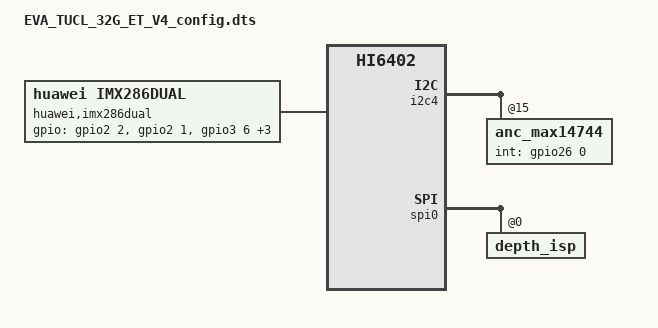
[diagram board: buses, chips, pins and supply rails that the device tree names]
/**
 * Huawei Ltd.
 * PhosphorV660
 */

/dts-v1/;

/include/ "fastboot.dtsi"
/include/ "EVA_TUCL_ET_V3_config.dtsi"
/include/ "EVA_TUCL_32G_ET_V4_pin.dtsi"
/include/ "EVA_TUCL_32G_ET_V4_modem_pin.dtsi"
/include/ "EVA_TUCL_32G_ET_V4_hi6402_pin.dtsi"

/{
	hisi,modem_id = <0x3C012800>;
	hisi,boardid = <3 5 5 7>;
	hisi,boardname = "EVA_TUCL_32G_ET_V4";

	amba{
		i2c4: i2c@FDF0D000{
			anc_max14744: anc_max14744@15{
				gpio_int = <&gpio26 0 0>;
				pinctrl-names = "default", "idle";
				pinctrl-0 = <&gpio010_hi6402_pinctrl_func>;
				pinctrl-1 = <&gpio010_hi6402_pinctrl_idle>;
				status = "ok";
			};
		};
		spi0: spi@ffd70000{
			depth_isp: depth_isp@0 {
				/*chip-type 1:dummy  2:Al6045  4:Al6610*/
				depth_isp,chip_type = <1>;
			};
		};
	};

	huawei,hisi_isp100{
		pinctrl-1 = <
			&gpio017_pmx_idle
			&gpio018_pmx_idle
			&gpio022_pmx_idle
			&gpio023_pmx_idle
			&gpio024_pmx_idle
			&gpio025_pmx_idle
			&gpio026_pmx_idle
			&gpio027_pmx_idle
			&gpio028_pmx_idle
			&gpio003_hi6402_pinctrl_idle
			&gpio122_pmx_idle
			&gpio081_pmx_idle
			&gpio030_pmx_idle
			&gpio217_pmx_idle
			//&gpio134_pmx_idle

			&gpio017_cfg_idle
			&gpio018_cfg_idle
			&gpio022_cfg_idle
			&gpio023_cfg_idle
			&gpio024_cfg_idle
			&gpio025_cfg_idle
			&gpio026_cfg_idle
			&gpio027_cfg_idle
			&gpio028_cfg_idle
			&gpio122_cfg_idle
			&gpio081_cfg_idle
			&gpio030_cfg_idle
			&gpio217_cfg_idle
			//&gpio134_cfg_idle
			>;
		pinctrl-0 = <
			&gpio017_pmx_func
			&gpio018_pmx_func
			&gpio022_pmx_func
			&gpio023_pmx_func
			&gpio024_pmx_func
			&gpio025_pmx_func
			&gpio026_pmx_func
			&gpio027_pmx_func
			&gpio028_pmx_func
			&gpio003_hi6402_pinctrl_func
			&gpio122_pmx_func
			&gpio081_pmx_func
			&gpio030_pmx_func
			&gpio217_pmx_func
			//&gpio134_pmx_func

			&gpio017_cfg_func
			&gpio018_cfg_func
			&gpio022_cfg_func
			&gpio023_cfg_func
			&gpio024_cfg_func
			&gpio025_cfg_func
			&gpio026_cfg_func
			&gpio027_cfg_func
			&gpio028_cfg_func
			&gpio122_cfg_func
			&gpio081_cfg_func
			&gpio030_cfg_func
			&gpio217_cfg_func
			//&gpio134_cfg_func
			>;
	};
	huawei,imx214dual{
		gpios = <&gpio2 2 0 &gpio2 1 0 &gpio3 6 0 &gpio27 1 0 &gpio15 2 0 &gpio10 1 0>;
	};
	huawei,imx286dual{
		compatible = "huawei,imx286dual";
		huawei,sensor_name = "IMX286DUAL";
		gpios = <&gpio2 2 0 &gpio2 1 0 &gpio3 6 0 &gpio27 1 0 &gpio15 2 0 &gpio10 1 0>;
	};
};
